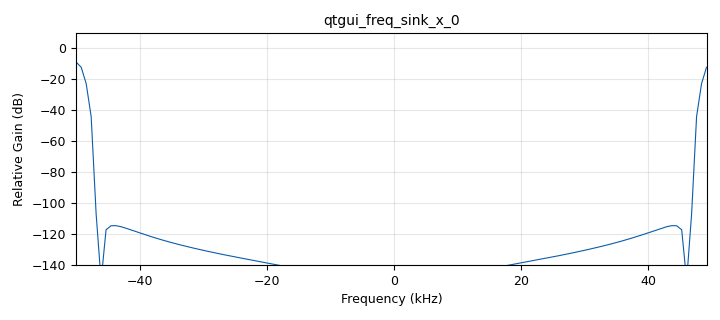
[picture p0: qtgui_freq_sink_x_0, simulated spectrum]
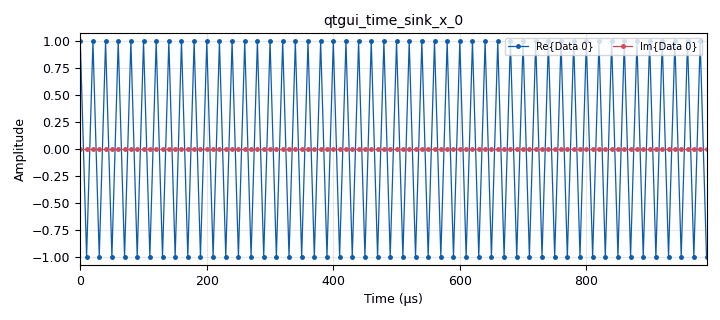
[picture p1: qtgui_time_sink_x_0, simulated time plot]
options:
  parameters:
    author: jason
    generate_options: qt_gui
    generator_class_name: PythonQtGuiGenerator
    generator_module: gnuradio.grc.workflows.python_qt_gui
    id: lesson07a_FrequencySpectrum
    output_language: python
    title: lesson07a_FrequencySpectrum_FFT_Window
  states: {}

blocks:
- name: freq
  id: variable_qtgui_range
  parameters:
    start: '-samp_rate'
    step: '1'
    stop: samp_rate
    value: samp_rate/2
  states: {}
- name: samp_rate
  id: variable
  parameters:
    value: 100e3
  states: {}
- name: analog_sig_source_x_0
  id: analog_sig_source_x
  parameters:
    amp: '1'
    freq: freq
    offset: '0'
    phase: '0'
    samp_rate: samp_rate
    type: complex
    waveform: analog.GR_COS_WAVE
  states: {}
- name: blocks_throttle_0
  id: blocks_throttle2
  parameters:
    samples_per_second: samp_rate
    type: complex
  states: {}
- name: qtgui_freq_sink_x_0
  id: qtgui_freq_sink_x
  parameters:
    bw: samp_rate
    comment: |-
      Rectangular Window Type to start
      Add a circle marker while running
      Default window is Blackman-harris
    fc: '0'
    fftsize: '128'
    type: complex
  states: {}
- name: qtgui_time_sink_x_0
  id: qtgui_time_sink_x
  parameters:
    marker1: '0'
    marker2: '0'
    size: '100'
    srate: samp_rate
    type: complex
  states: {}

connections:
- [analog_sig_source_x_0, '0', blocks_throttle_0, '0']
- [blocks_throttle_0, '0', qtgui_freq_sink_x_0, '0']
- [blocks_throttle_0, '0', qtgui_time_sink_x_0, '0']

metadata:
  file_format: 1
  grc_version: 3.10.12.0
